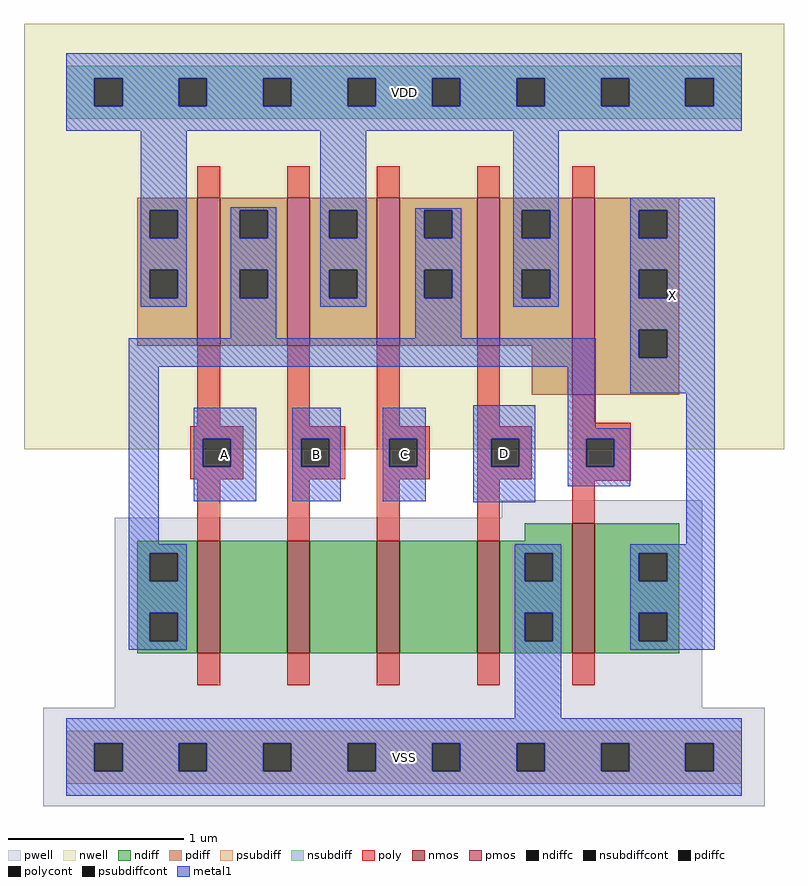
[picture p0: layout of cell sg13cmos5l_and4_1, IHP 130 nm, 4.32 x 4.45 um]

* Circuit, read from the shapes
.subckt sg13cmos5l_and4_1 X B A VDD VSS C D
XM1 n1 A n2 VSS sg13_lv_nmos w=0.64u l=0.13u
XM2 n3 B n1 VSS sg13_lv_nmos w=0.64u l=0.13u
XM3 n4 C n3 VSS sg13_lv_nmos w=0.64u l=0.13u
XM4 VSS D n4 VSS sg13_lv_nmos w=0.64u l=0.13u
XM5 X n2 VSS VSS sg13_lv_nmos w=0.74u l=0.13u
XM6 n2 A VDD VDD sg13_lv_pmos w=0.84u l=0.13u
XM7 VDD B n2 VDD sg13_lv_pmos w=0.84u l=0.13u
XM8 n2 C VDD VDD sg13_lv_pmos w=0.84u l=0.13u
XM9 VDD D n2 VDD sg13_lv_pmos w=0.84u l=0.13u
XM10 X n2 VDD VDD sg13_lv_pmos w=1.12u l=0.13u
.ends

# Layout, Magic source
magic
tech ihp-sg13cmos5l
magscale 1 2
<< nwell >>
rect -48 350 816 834
<< pwell >>
rect 495 272 723 292
rect 55 56 723 272
rect -26 -56 794 56
<< nmos >>
rect 149 118 175 246
rect 251 118 277 246
rect 353 118 379 246
rect 467 118 493 246
rect 575 118 601 266
<< pmos >>
rect 149 468 175 636
rect 251 468 277 636
rect 353 468 379 636
rect 467 468 493 636
rect 575 412 601 636
<< ndiff >>
rect 521 246 575 266
rect 81 232 149 246
rect 81 200 95 232
rect 127 200 149 232
rect 81 164 149 200
rect 81 132 95 164
rect 127 132 149 164
rect 81 118 149 132
rect 175 118 251 246
rect 277 118 353 246
rect 379 118 467 246
rect 493 232 575 246
rect 493 200 521 232
rect 553 200 575 232
rect 493 164 575 200
rect 493 132 521 164
rect 553 132 575 164
rect 493 118 575 132
rect 601 232 697 266
rect 601 200 651 232
rect 683 200 697 232
rect 601 164 697 200
rect 601 132 651 164
rect 683 132 697 164
rect 601 118 697 132
<< pdiff >>
rect 81 622 149 636
rect 81 590 95 622
rect 127 590 149 622
rect 81 554 149 590
rect 81 522 95 554
rect 127 522 149 554
rect 81 468 149 522
rect 175 622 251 636
rect 175 590 197 622
rect 229 590 251 622
rect 175 554 251 590
rect 175 522 197 554
rect 229 522 251 554
rect 175 468 251 522
rect 277 622 353 636
rect 277 590 299 622
rect 331 590 353 622
rect 277 554 353 590
rect 277 522 299 554
rect 331 522 353 554
rect 277 468 353 522
rect 379 622 467 636
rect 379 590 407 622
rect 439 590 467 622
rect 379 554 467 590
rect 379 522 407 554
rect 439 522 467 554
rect 379 468 467 522
rect 493 622 575 636
rect 493 590 518 622
rect 550 590 575 622
rect 493 554 575 590
rect 493 522 518 554
rect 550 522 575 554
rect 493 468 575 522
rect 529 412 575 468
rect 601 622 697 636
rect 601 590 651 622
rect 683 590 697 622
rect 601 554 697 590
rect 601 522 651 554
rect 683 522 697 554
rect 601 486 697 522
rect 601 454 651 486
rect 683 454 697 486
rect 601 412 697 454
<< ndiffc >>
rect 95 200 127 232
rect 95 132 127 164
rect 521 200 553 232
rect 521 132 553 164
rect 651 200 683 232
rect 651 132 683 164
<< pdiffc >>
rect 95 590 127 622
rect 95 522 127 554
rect 197 590 229 622
rect 197 522 229 554
rect 299 590 331 622
rect 299 522 331 554
rect 407 590 439 622
rect 407 522 439 554
rect 518 590 550 622
rect 518 522 550 554
rect 651 590 683 622
rect 651 522 683 554
rect 651 454 683 486
<< psubdiff >>
rect 0 16 768 30
rect 0 -16 32 16
rect 64 -16 128 16
rect 160 -16 224 16
rect 256 -16 320 16
rect 352 -16 416 16
rect 448 -16 512 16
rect 544 -16 608 16
rect 640 -16 704 16
rect 736 -16 768 16
rect 0 -30 768 -16
<< nsubdiff >>
rect 0 772 768 786
rect 0 740 32 772
rect 64 740 128 772
rect 160 740 224 772
rect 256 740 320 772
rect 352 740 416 772
rect 448 740 512 772
rect 544 740 608 772
rect 640 740 704 772
rect 736 740 768 772
rect 0 726 768 740
<< psubdiffcont >>
rect 32 -16 64 16
rect 128 -16 160 16
rect 224 -16 256 16
rect 320 -16 352 16
rect 416 -16 448 16
rect 512 -16 544 16
rect 608 -16 640 16
rect 704 -16 736 16
<< nsubdiffcont >>
rect 32 740 64 772
rect 128 740 160 772
rect 224 740 256 772
rect 320 740 352 772
rect 416 740 448 772
rect 512 740 544 772
rect 608 740 640 772
rect 704 740 736 772
<< poly >>
rect 149 636 175 672
rect 251 636 277 672
rect 353 636 379 672
rect 467 636 493 672
rect 575 636 601 672
rect 149 376 175 468
rect 251 376 277 468
rect 353 376 379 468
rect 467 376 493 468
rect 575 380 601 412
rect 141 362 201 376
rect 141 330 155 362
rect 187 330 201 362
rect 141 316 201 330
rect 251 362 317 376
rect 251 330 267 362
rect 299 330 317 362
rect 251 316 317 330
rect 353 362 413 376
rect 353 330 367 362
rect 399 330 413 362
rect 353 316 413 330
rect 467 362 529 376
rect 467 330 483 362
rect 515 330 529 362
rect 467 316 529 330
rect 575 362 642 380
rect 575 330 591 362
rect 623 330 642 362
rect 149 246 175 316
rect 251 246 277 316
rect 353 246 379 316
rect 467 246 493 316
rect 575 314 642 330
rect 575 266 601 314
rect 149 82 175 118
rect 251 82 277 118
rect 353 82 379 118
rect 467 82 493 118
rect 575 82 601 118
<< polycont >>
rect 155 330 187 362
rect 267 330 299 362
rect 367 330 399 362
rect 483 330 515 362
rect 591 330 623 362
<< metal1 >>
rect 0 772 768 800
rect 0 740 32 772
rect 64 740 128 772
rect 160 740 224 772
rect 256 740 320 772
rect 352 740 416 772
rect 448 740 512 772
rect 544 740 608 772
rect 640 740 704 772
rect 736 740 768 772
rect 0 712 768 740
rect 85 622 137 712
rect 85 590 95 622
rect 127 590 137 622
rect 85 554 137 590
rect 85 522 95 554
rect 127 522 137 554
rect 85 512 137 522
rect 187 622 239 625
rect 187 590 197 622
rect 229 590 239 622
rect 187 554 239 590
rect 187 522 197 554
rect 229 522 239 554
rect 187 476 239 522
rect 289 622 341 712
rect 289 590 299 622
rect 331 590 341 622
rect 289 554 341 590
rect 289 522 299 554
rect 331 522 341 554
rect 289 512 341 522
rect 397 622 449 624
rect 397 590 407 622
rect 439 590 449 622
rect 397 554 449 590
rect 397 522 407 554
rect 439 522 449 554
rect 397 476 449 522
rect 508 622 560 712
rect 508 590 518 622
rect 550 590 560 622
rect 508 554 560 590
rect 508 522 518 554
rect 550 522 560 554
rect 508 512 560 522
rect 641 622 737 636
rect 641 590 651 622
rect 683 590 737 622
rect 641 554 737 590
rect 641 522 651 554
rect 683 522 737 554
rect 641 486 737 522
rect 71 444 602 476
rect 71 242 105 444
rect 145 362 216 397
rect 145 330 155 362
rect 187 330 216 362
rect 145 291 216 330
rect 257 362 312 397
rect 257 330 267 362
rect 299 330 312 362
rect 257 291 312 330
rect 360 362 409 397
rect 360 330 367 362
rect 399 330 409 362
rect 360 291 409 330
rect 463 362 533 400
rect 463 330 483 362
rect 515 330 533 362
rect 463 290 533 330
rect 570 374 602 444
rect 641 454 651 486
rect 683 454 737 486
rect 641 414 737 454
rect 570 362 641 374
rect 570 330 591 362
rect 623 330 641 362
rect 570 308 641 330
rect 705 242 737 414
rect 71 232 137 242
rect 71 200 95 232
rect 127 200 137 232
rect 71 164 137 200
rect 71 132 95 164
rect 127 132 137 164
rect 71 122 137 132
rect 510 232 563 242
rect 510 200 521 232
rect 553 200 563 232
rect 510 164 563 200
rect 510 132 521 164
rect 553 132 563 164
rect 510 44 563 132
rect 641 232 737 242
rect 641 200 651 232
rect 683 200 737 232
rect 641 164 737 200
rect 641 132 651 164
rect 683 132 737 164
rect 641 122 737 132
rect 0 16 768 44
rect 0 -16 32 16
rect 64 -16 128 16
rect 160 -16 224 16
rect 256 -16 320 16
rect 352 -16 416 16
rect 448 -16 512 16
rect 544 -16 608 16
rect 640 -16 704 16
rect 736 -16 768 16
rect 0 -44 768 -16
<< labels >>
flabel metal1 s 641 414 737 636 0 FreeSans 400 0 0 0 X
port 2 nsew
flabel metal1 s 257 291 312 397 0 FreeSans 400 0 0 0 B
port 3 nsew
flabel metal1 s 145 291 216 397 0 FreeSans 400 0 0 0 A
port 4 nsew
flabel metal1 s 0 712 768 800 0 FreeSans 400 0 0 0 VDD
port 5 nsew
flabel metal1 s 0 -44 768 44 0 FreeSans 400 0 0 0 VSS
port 6 nsew
flabel metal1 s 360 291 409 397 0 FreeSans 400 0 0 0 C
port 7 nsew
flabel metal1 s 463 290 533 400 0 FreeSans 400 0 0 0 D
port 8 nsew
<< properties >>
string FIXED_BBOX 0 0 768 756
string GDS_END 58962
string GDS_FILE pll_digital.gds
string GDS_START 53632
<< end >>
